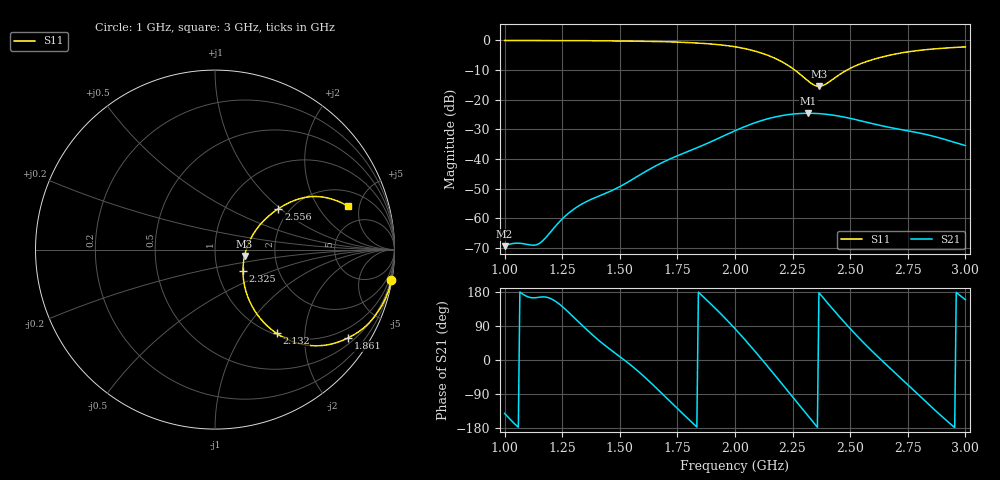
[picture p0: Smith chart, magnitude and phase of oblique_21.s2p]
! TOUCHSTONE file generated by CST MICROWAVE STUDIO
! Date and time: Tue Mar 18 00:00:53 2025
! Project name: oblique.cst
! Parameters = {Tilt=30; Fracture=1; B=10; D=160; F=15; Feed=2.85625; L=100; M=10; R=0.384908; S=1; Theta=270; length=57.125; wave=114.25}
! Header version: 2024
! Port assignment regex: !\s*Touchstone port\s*([0-9]+)\s*=\s*(CST MWS port|CST DES external port|CST DES block port)\s*(.+)\s* \(\"(.*)\"\)(\s*mode\s*([0-9]+))?.*
! Touchstone port assignment:
! Touchstone port 1 = CST MWS port 1 ("")
! Touchstone port 2 = CST MWS port 2 ("")
# GHz S DB R 50
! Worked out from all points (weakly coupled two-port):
!   303 points, 1 GHz to 3 GHz, reference 50 ohm
!   highest |S21| = -24.55 dB at 2.318 GHz (marker M1); lowest = -69.3 dB at 1 GHz (marker M2)
!   lowest |S11| = -15.5 dB at 2.364 GHz (marker M3), VSWR 1.40, Z = 69.5 - j5.1 ohm
!   |S11| at or under -10 dB: 2.26 GHz to 2.486 GHz (226 MHz wide, 9.53 % of centre)
!   S12 and S22 are empty: the file has one direction only
!   S11 on the Smith chart (normalised r, x): 1 GHz: 0, -12; 1.861 GHz: 0.67, -3.19; 2.132 GHz: 1.02, -1.44; 2.325 GHz: 1.32, -0.33; 2.556 GHz: 1.75, +0.97; 3 GHz: 3.12, +3.83
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1  -0.02 -9.8  -69.34 -140.9  -200.00 0.0  -200.00 0.0
1.04636  -0.03 -10.4  -68.35 -170.1  -200.00 0.0  -200.00 0.0
1.1457  -0.04 -11.9  -68.64 165.2  -200.00 0.0  -200.00 0.0
1.17219  -0.04 -12.3  -67.01 166.5  -200.00 0.0  -200.00 0.0
1.2649  -0.07 -13.9  -59.08 133.2  -200.00 0.0  -200.00 0.0
1.33775  -0.09 -15.3  -55.03 90.9  -200.00 0.0  -200.00 0.0
1.49007  -0.18 -18.8  -49.68 13.4  -200.00 0.0  -200.00 0.0
1.66887  -0.39 -24.4  -41.77 -80.1  -200.00 0.0  -200.00 0.0
1.86093  -1.01 -33.5  -35.33 167.8  -200.00 0.0  -200.00 0.0
2  -2.15 -43.3  -30.44 82.6  -200.00 0.0  -200.00 0.0
2.13245  -4.74 -53.7  -26.62 -10.1  -200.00 0.0  -200.00 0.0
2.22517  -8.18 -56.9  -25.07 -78.9  -200.00 0.0  -200.00 0.0
2.31788  -13.72 -40.7  -24.55 -148.3  -200.00 0.0  -200.00 0.0
2.3245  -14.13 -37.6  -24.56 -153.2  -200.00 0.0  -200.00 0.0
2.33775  -14.83 -30.2  -24.58 -163.0  -200.00 0.0  -200.00 0.0
2.36424  -15.47 -12.2  -24.67 177.6  -200.00 0.0  -200.00 0.0
2.39073  -14.87 5.3  -24.85 158.4  -200.00 0.0  -200.00 0.0
2.45695  -11.34 27.5  -25.59 111.7  -200.00 0.0  -200.00 0.0
2.55629  -7.53 32.8  -27.30 46.8  -200.00 0.0  -200.00 0.0
2.66887  -5.03 30.7  -29.29 -19.3  -200.00 0.0  -200.00 0.0
2.82119  -3.18 24.4  -31.56 -105.8  -200.00 0.0  -200.00 0.0
3  -2.18 18.1  -35.44 159.1  -200.00 0.0  -200.00 0.0
